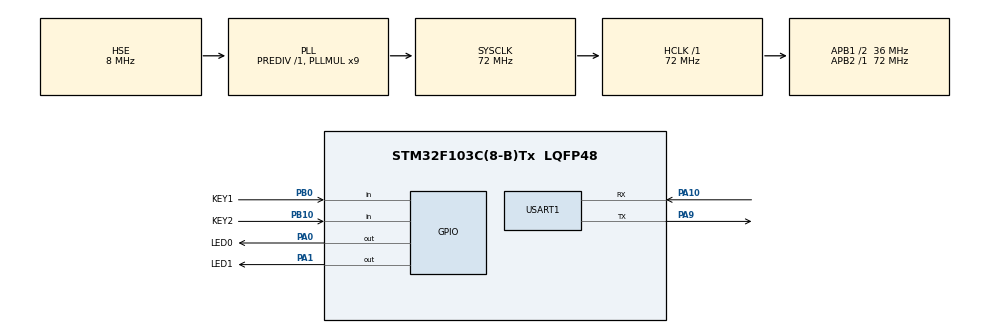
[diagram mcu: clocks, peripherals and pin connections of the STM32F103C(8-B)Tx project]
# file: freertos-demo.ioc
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FREERTOS.Tasks01=defaultTask,24,128,StartDefaultTask,Default,NULL,Dynamic,NULL,NULL
FREERTOS.configTOTAL_HEAP_SIZE=10240
Mcu.Family=STM32F1
Mcu.Name=STM32F103C(8-B)Tx
Mcu.Package=LQFP48
NVIC.PriorityGroup=NVIC_PRIORITYGROUP_4
NVIC.TIM4_IRQn=true\:15\:0\:false\:false\:true\:false\:false\:true\:true
NVIC.TimeBase=TIM4_IRQn
NVIC.TimeBaseIP=TIM4
PA0-WKUP.GPIO_Label=LED0
PA0-WKUP.GPIO_Speed=GPIO_SPEED_FREQ_HIGH
PA0-WKUP.PinState=GPIO_PIN_SET
PA0-WKUP.Signal=GPIO_Output
PA1.GPIO_Label=LED1
PA1.GPIO_Speed=GPIO_SPEED_FREQ_HIGH
PA1.PinState=GPIO_PIN_SET
PA1.Signal=GPIO_Output
PA10.Mode=Asynchronous
PA10.Signal=USART1_RX
PA13.Mode=Serial_Wire
PA13.Signal=SYS_JTMS-SWDIO
PA14.Mode=Serial_Wire
PA14.Signal=SYS_JTCK-SWCLK
PA9.Mode=Asynchronous
PA9.Signal=USART1_TX
PB0.GPIO_Label=KEY1
PB0.GPIO_PuPd=GPIO_PULLDOWN
PB0.Signal=GPIO_Input
PB10.GPIO_Label=KEY2
PB10.GPIO_PuPd=GPIO_PULLDOWN
PB10.Signal=GPIO_Input
PC14-OSC32_IN.Mode=LSE-External-Oscillator
PC14-OSC32_IN.Signal=RCC_OSC32_IN
PC15-OSC32_OUT.Mode=LSE-External-Oscillator
PC15-OSC32_OUT.Signal=RCC_OSC32_OUT
PD0-OSC_IN.Mode=HSE-External-Oscillator
PD0-OSC_IN.Signal=RCC_OSC_IN
PD1-OSC_OUT.Mode=HSE-External-Oscillator
PD1-OSC_OUT.Signal=RCC_OSC_OUT
ProjectManager.HeapSize=0x200
ProjectManager.StackSize=0x400
ProjectManager.TargetToolchain=MDK-ARM V5.32
RCC.AHBFreq_Value=72000000
RCC.APB1CLKDivider=RCC_HCLK_DIV2
RCC.APB1Freq_Value=36000000
RCC.APB1TimFreq_Value=72000000
RCC.APB2Freq_Value=72000000
RCC.APB2TimFreq_Value=72000000
RCC.HCLKFreq_Value=72000000
RCC.PLLMUL=RCC_PLL_MUL9
RCC.PLLSourceVirtual=RCC_PLLSOURCE_HSE
RCC.SYSCLKFreq_VALUE=72000000
RCC.SYSCLKSource=RCC_SYSCLKSOURCE_PLLCLK
RCC.USBFreq_Value=72000000
USART1.VirtualMode=VM_ASYNC
VP_FREERTOS_VS_CMSIS_V2.Mode=CMSIS_V2
VP_SYS_VS_tim4.Mode=TIM4
board=custom

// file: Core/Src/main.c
/* USER CODE BEGIN Header */
/**
  ******************************************************************************
  * @file           : main.c
  * @brief          : Main program body
  ******************************************************************************
  * @attention
  *
  * Copyright (c) 2026 STMicroelectronics.
  * All rights reserved.
  *
  * This software is licensed under terms that can be found in the LICENSE file
  * in the root directory of this software component.
  * If no LICENSE file comes with this software, it is provided AS-IS.
  *
  ******************************************************************************
  */
/* USER CODE END Header */
#include "main.h"
#include "cmsis_os.h"
#include "usart.h"
#include "gpio.h"

/* USER CODE BEGIN Includes */
#include "task.h"
#include <stdio.h>
#include "limits.h"
#include "queue.h"
#include "semphr.h"
#include "event_groups.h"
/* USER CODE END Includes */

/* USER CODE BEGIN PD */
//启动任务配置参数
#define START_PRIO 1
#define START_STACK_SIZE 128
TaskHandle_t StartTask_Handler;
void Start_Task(void *pvParameters);

//设置事件组任务配置参数
#define SET_PRIO 5
#define SET_STACK_SIZE 128
TaskHandle_t set_Handler;
void Set_Task(void *pvParameters);

//等待事件组任务配置参数
#define WAIT_PRIO 4
#define WAIT_STACK_SIZE 128
TaskHandle_t wait_Handler;
void Wait_Task(void *pvParameters);

//定义事件掩码
#define KEY1_EVENT (0x01<<0)
#define KEY2_EVENT (0x01<<1)

//high task和mid task双双osDelay(即阻塞)时，low task才能执行
/* USER CODE END PD */

void SystemClock_Config(void);
void MX_FREERTOS_Init(void);

int main(void)
{

  /* MCU Configuration--------------------------------------------------------*/

  /* Reset of all peripherals, Initializes the Flash interface and the Systick. */
  HAL_Init();

  /* Configure the system clock */
  SystemClock_Config();

  /* Initialize all configured peripherals */
  MX_GPIO_Init();
  MX_USART1_UART_Init();

  /* USER CODE BEGIN 2 */

	//创建启动任务
   xTaskCreate(Start_Task,"Start_Task",START_STACK_SIZE,NULL,START_PRIO,&StartTask_Handler);
   //启动调度器
	 vTaskStartScheduler();
  /* USER CODE END 2 */

  /* Init scheduler */
  osKernelInitialize();

  /* Call init function for freertos objects (in cmsis_os2.c) */
  MX_FREERTOS_Init();

  /* Start scheduler */
  osKernelStart();

  /* We should never get here as control is now taken by the scheduler */

  /* Infinite loop */
  while (1)
  {

  }
}

void SystemClock_Config(void)
{
  RCC_OscInitTypeDef RCC_OscInitStruct = {0};
  RCC_ClkInitTypeDef RCC_ClkInitStruct = {0};

  /** Initializes the RCC Oscillators according to the specified parameters
  * in the RCC_OscInitTypeDef structure.
  */
  RCC_OscInitStruct.OscillatorType = RCC_OSCILLATORTYPE_HSE;
  RCC_OscInitStruct.HSEState = RCC_HSE_ON;
  RCC_OscInitStruct.HSEPredivValue = RCC_HSE_PREDIV_DIV1;
  RCC_OscInitStruct.HSIState = RCC_HSI_ON;
  RCC_OscInitStruct.PLL.PLLState = RCC_PLL_ON;
  RCC_OscInitStruct.PLL.PLLSource = RCC_PLLSOURCE_HSE;
  RCC_OscInitStruct.PLL.PLLMUL = RCC_PLL_MUL9;
  if (HAL_RCC_OscConfig(&RCC_OscInitStruct) != HAL_OK)
  {
    Error_Handler();
  }

  /** Initializes the CPU, AHB and APB buses clocks
  */
  RCC_ClkInitStruct.ClockType = RCC_CLOCKTYPE_HCLK|RCC_CLOCKTYPE_SYSCLK
                              |RCC_CLOCKTYPE_PCLK1|RCC_CLOCKTYPE_PCLK2;
  RCC_ClkInitStruct.SYSCLKSource = RCC_SYSCLKSOURCE_PLLCLK;
  RCC_ClkInitStruct.AHBCLKDivider = RCC_SYSCLK_DIV1;
  RCC_ClkInitStruct.APB1CLKDivider = RCC_HCLK_DIV2;
  RCC_ClkInitStruct.APB2CLKDivider = RCC_HCLK_DIV1;

  if (HAL_RCC_ClockConfig(&RCC_ClkInitStruct, FLASH_LATENCY_2) != HAL_OK)
  {
    Error_Handler();
  }
}

/* USER CODE BEGIN 4 */
void Start_Task(void *pvParameters){
  //通过临界区确保业务创建成功
  taskENTER_CRITICAL();

      xTaskCreate(Set_Task,"Set_Task",SET_STACK_SIZE,NULL,SET_PRIO,&set_Handler);
      xTaskCreate(Wait_Task,"Wait_Task",WAIT_STACK_SIZE,NULL,WAIT_PRIO,&wait_Handler);
      printf("all task create success\n");

  vTaskDelete(NULL); //删除启动任务
  taskEXIT_CRITICAL();//退出临界区
}

void Set_Task(void *pvParameters){
  uint8_t keyNum=0;
  while(1){
    keyNum=Key_GetKeyNum();
    if(keyNum==1){
      //设置事件1置位
      xTaskNotify(wait_Handler,KEY1_EVENT,eSetBits);
      printf("key1 push down,event1 occur\n");
    }else if(keyNum==2){
      //设置事件2置位
      xTaskNotify(wait_Handler,KEY2_EVENT,eSetBits);
      printf("key2 push down,event2 occur\n");
    }
  osDelay(10);
  }
}

void Wait_Task(void *pvParameters){
  BaseType_t res=pdFAIL;
  uint32_t r_data=0;//保存本次接收到的事件组的值
  uint32_t last_data=0;//保存上一次接收到的事件组的值
  while(1){
    printf("core task waiting event occur\n");
   res=xTaskNotifyWait(0x0,ULONG_MAX,&r_data,portMAX_DELAY);
   if(res==pdTRUE){
    r_data|=last_data;//两次事件通知的值的合并
    //判断事件的发生情况
    if(r_data==(KEY1_EVENT|KEY2_EVENT)){
      printf("core task wait event occur success, core task running\n");
      //清除事件组置位
      r_data=0;
      last_data=0;
    }else{
      printf("core task wait event occur fail,event1 and event2 no both occur\n");
      //把本次事件发生的值，作为已发生的事件值，用于和下次事件值合并
      last_data=r_data;
    }
   }else{
        printf("core task waiting event occur fail\n");
   }

    osDelay(1000);//进入阻塞态
  }
}

/* USER CODE END 4 */

void HAL_TIM_PeriodElapsedCallback(TIM_HandleTypeDef *htim)
{
  if (htim->Instance == TIM4) {
    HAL_IncTick();
  }
}

void Error_Handler(void)
{
  __disable_irq();
  while (1)
  {
  }
}
